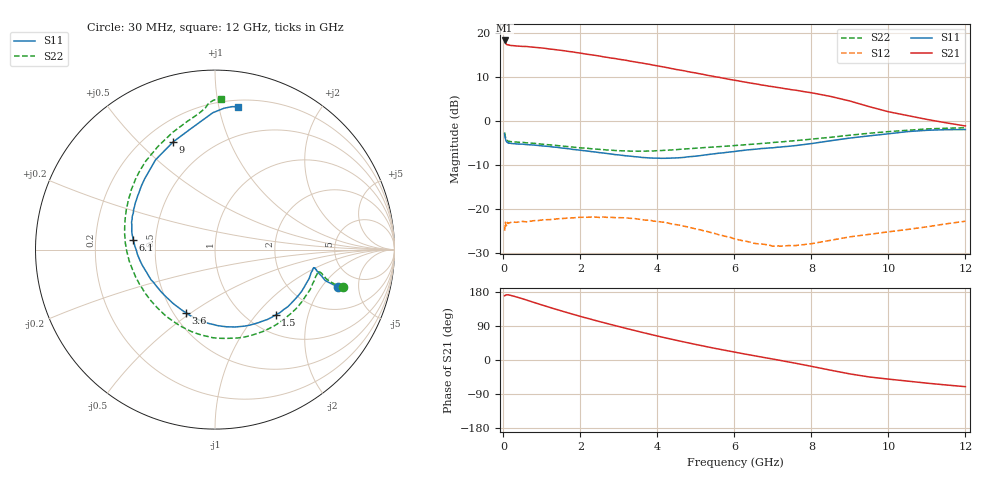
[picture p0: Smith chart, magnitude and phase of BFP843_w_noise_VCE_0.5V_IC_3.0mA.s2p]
! Infineon Technologies  Discrete & RF Semiconductors
! BFP843
! VCE =  0.5 V,  IC =  3.0 mA
! Common Emitter S-Parameters:  Aug 2013
# GHz  S  MA  R  50
!  f  S11  S21  S12  S22
! GHz  MAG  ANG  MAG  ANG  MAG  ANG  MAG  ANG
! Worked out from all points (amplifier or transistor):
!   103 points, 30 MHz to 12 GHz, reference 50 ohm
!   highest |S21| = 18.4 dB at 30 MHz (marker M1)
!   |S21| within 3 dB of that: start of sweep to 2.076 GHz
!   unconditionally stable (mu >= 1): 175.6 MHz to 460.1 MHz; 3.358 GHz to end of sweep
!   at 400 MHz: K = 1.01, MAG = 19.6 dB, |S12| = -22.9 dB
!   at 3.7 GHz: K = 1.06, MAG = 16.3 dB, |S12| = -22.5 dB
!   at 12 GHz: K = 1.02, MAG = 10.0 dB, |S12| = -22.8 dB
!   lowest NFmin = 1.03 dB at 450 MHz
!   S11 on the Smith chart (normalised r, x): 30 MHz: 3.42, -2.95; 1.5 GHz: 1.32, -1.27; 3.6 GHz: 0.58, -0.48; 6.1 GHz: 0.37, +0.05; 9 GHz: 0.31, +0.64; 12 GHz: 0.25, +1.14
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0.03  0.718 -16.9  8.322 169.5  0.0567 35.9  0.746 -16.4
0.04  0.6653 -16.2  8 169.7  0.0625 30.0  0.6946 -16.1
0.05  0.6378 -15.7  7.783 171.4  0.071 20.5  0.6671 -15.6
0.07  0.5953 -13.0  7.545 171.7  0.0655 15.5  0.6232 -13.4
0.13  0.5662 -10.6  7.408 172.0  0.0691 9.2  0.5927 -11.9
0.6  0.5424 -20.2  7.103 158.2  0.0716 2.1  0.5679 -26.9
1  0.5245 -31.9  6.831 145.2  0.0751 -0.4  0.5483 -43.2
1.5  0.4963 -47.1  6.421 129.8  0.0779 -3.7  0.5226 -63.6
1.8  0.478 -56.6  6.16 120.8  0.0793 -7.1  0.5084 -75.7
2.1  0.4622 -65.9  5.866 112.2  0.0806 -9.5  0.4945 -87.3
2.4  0.4457 -75.3  5.613 104.0  0.0811 -13.4  0.4823 -98.6
2.9  0.417 -91.5  5.183 90.8  0.08 -18.8  0.4646 -117.4
3.6  0.3868 -114.8  4.605 72.9  0.0759 -27.2  0.4569 -142.1
4.1  0.3785 -131.9  4.199 60.9  0.0713 -32.3  0.4641 -157.9
5  0.4006 -161.1  3.547 40.9  0.0593 -38.9  0.4937 -180.0
6.1  0.4588 173.3  2.887 19.0  0.0448 -38.3  0.5329 159.5
7.3  0.5143 149.8  2.354 -3.2  0.038 -23.4  0.5867 139.8
8.5  0.6 123.5  1.917 -26.9  0.0441 -10.2  0.6569 118.9
9  0.6439 111.2  1.7 -36.7  0.0483 -9.3  0.6944 109.9
9.5  0.6819 102.2  1.468 -44.7  0.0515 -9.3  0.7302 102.3
10.5  0.7628 90.9  1.161 -55.7  0.0586 -9.4  0.7896 94.0
12  0.8054 81.0  0.884 -70.4  0.0727 -14.2  0.8423 87.7
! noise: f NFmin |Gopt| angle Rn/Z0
0.45  1.03  0.27  8  0.03
0.9  1.05  0.28  18  0.05
1.5  1.1  0.27  30  0.12
1.9  1.13  0.26  40  0.21
2.4  1.19  0.25  50  0.29
3.5  1.32  0.2  69  0.4
5.5  1.54  0.16  173  0.49
10  2.44  0.54  -80  0.55
